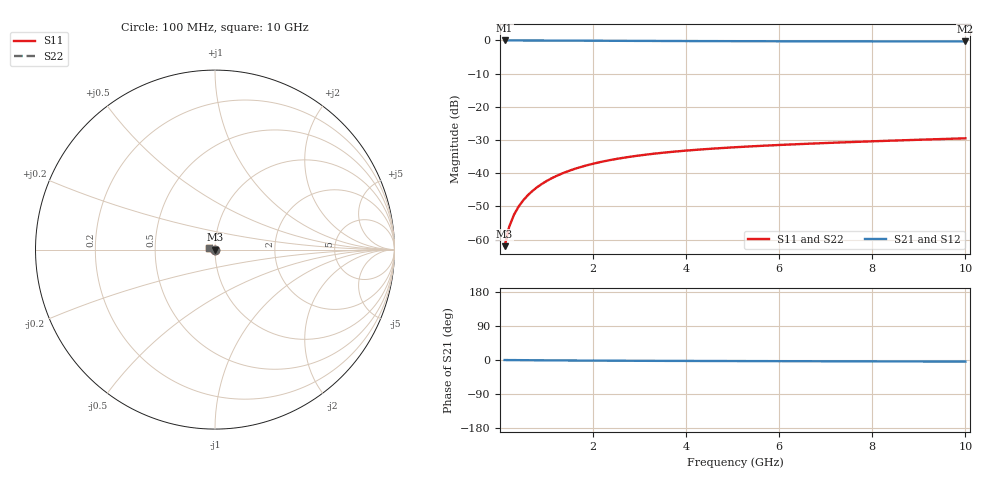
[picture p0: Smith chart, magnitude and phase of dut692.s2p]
! Touchstone file exported from HFSS 2024.1.0
!  File:  C:/UserFiles/LocalFiles/RDL_TSV_Batchsim/temp_TSV1_692_1779796431.aedt
!  Generated:  07:58:35 PM May 26, 2026
!  Design:  TSV1
!  Project:  temp_TSV1_692_1779796431
!  Setup:  Setup1
!  Solution:  Sweep
! Variables:
!  dtsv = 8.52um
!  hbump = 3um
!  htsv = 61.67um
!  lrdl = 252.1521522um
!  p = 40
!  p1 = 52.22um
!  t = 500um
!  trdl = 3um
!  wrdl = 24.89489489um
# GHz S MA R 50.000000
! Terminal data exported
! Port[1] = TSV22_T1
! Port[2] = TSV22_T2
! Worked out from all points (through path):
!   100 points, 100 MHz to 10 GHz, reference 50 ohm
!   highest |S21| = 0.00 dB at 100 MHz (marker M1); lowest = -0.3 dB at 10 GHz (marker M2)
!   lowest |S11| = -61.9 dB at 100 MHz (marker M3), VSWR 1.00, Z = 50 - j0.0787 ohm
!   |S11| at or under -10 dB: start of sweep to end of sweep
!   |S22| runs from -61.9 to -29.5 dB; largest |S21 - S12| = 4.8e-15
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0.1  0.0007992 -79.7  0.9998 -0.1  0.9998 -0.1  0.0007992 -79.7
! Gamma 0 0 0 0
! Port Impedance 50 0 50 0
0.2  0.001582 -87.7  0.9997 -0.2  0.9997 -0.2  0.001582 -87.7
0.3  0.002367 -91.9  0.9995 -0.3  0.9995 -0.3  0.002367 -91.9
0.4  0.003146 -95.0  0.9993 -0.4  0.9993 -0.4  0.003146 -95.0
0.5  0.003919 -97.6  0.9991 -0.5  0.9991 -0.5  0.003919 -97.6
0.6  0.004684 -100.1  0.9988 -0.6  0.9988 -0.6  0.004684 -100.1
0.7  0.005439 -102.4  0.9984 -0.6  0.9984 -0.6  0.005439 -102.4
0.8  0.006183 -104.6  0.998 -0.7  0.998 -0.7  0.006183 -104.6
0.9  0.006914 -106.8  0.9976 -0.8  0.9976 -0.8  0.006914 -106.8
1.1  0.008335 -110.9  0.9966 -1.0  0.9966 -1.0  0.008335 -110.9
1.4  0.01035 -116.8  0.9949 -1.2  0.9949 -1.2  0.01035 -116.8
1.6  0.01161 -120.5  0.9936 -1.4  0.9936 -1.4  0.01161 -120.5
1.8  0.0128 -124.0  0.9923 -1.5  0.9923 -1.5  0.0128 -124.0
2.1  0.01445 -129.1  0.9903 -1.7  0.9903 -1.7  0.01445 -129.1
2.5  0.01643 -135.5  0.9877 -1.9  0.9877 -1.9  0.01643 -135.5
2.9  0.01816 -141.3  0.9852 -2.1  0.9852 -2.1  0.01816 -141.3
3.4  0.02004 -147.9  0.9823 -2.3  0.9823 -2.3  0.02004 -147.9
4.2  0.02251 -157.2  0.9784 -2.5  0.9784 -2.5  0.02252 -157.2
5.1  0.02477 -166.2  0.9749 -2.8  0.9749 -2.8  0.02477 -166.2
6.7  0.02801 -179.2  0.9706 -3.3  0.9706 -3.3  0.02801 -179.2
8.4  0.03097 169.7  0.9675 -3.7  0.9675 -3.7  0.03097 169.7
10  0.03362 161.2  0.9656 -4.2  0.9656 -4.2  0.03362 161.2
